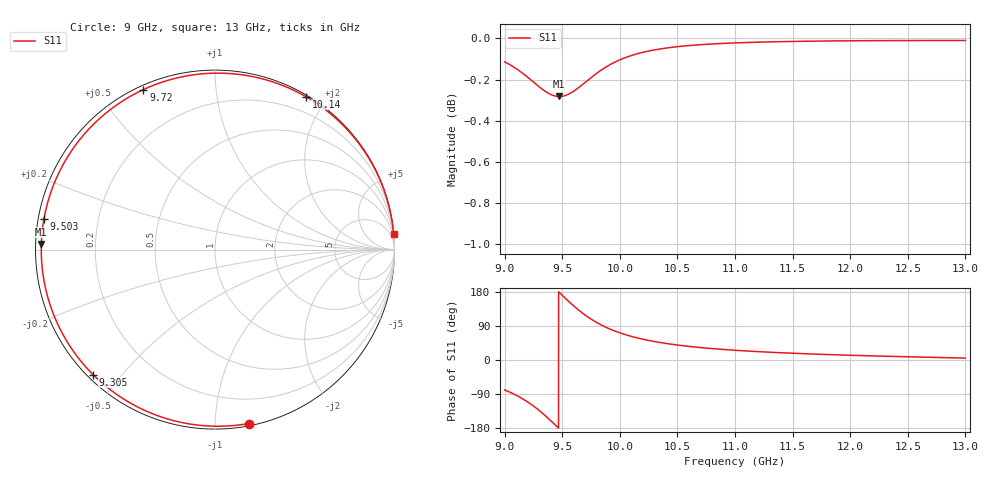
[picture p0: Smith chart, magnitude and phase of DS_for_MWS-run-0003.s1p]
! TOUCHSTONE file generated by CST DESIGN STUDIO
! Date and time: Tue Feb  4 12:28:36 2025
! Project name: C:\Work\MatlabApps\UnitCellOptimizationMatlab\CST\unitcell.cst
! Tree item: Tasks\Sweep1\SPara1\S-Parameters
! Header version: 2024
! Port assignment regex: !\s*Touchstone port\s*([0-9]+)\s*=\s*(CST MWS port|CST DES external port|CST DES block port)\s*(.+)\s* \(\"(.*)\"\)(\s*mode\s*([0-9]+))?.*
! Touchstone port assignment:
! Touchstone port 1 = CST DES external port 1 ("")
# GHz S MA R 50
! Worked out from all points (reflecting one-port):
!   4001 points, 9 GHz to 13 GHz, reference 50 ohm
!   lowest |S11| = -0.3 dB at 9.475 GHz (marker M1), VSWR 61.53, Z = 0.813 + j0.792 ohm
!   phase of S11 starts at -79 deg and turns -276 deg over the sweep
!   S11 on the Smith chart (normalised r, x): 9 GHz: 0.02, -1.21; 9.305 GHz: 0.02, -0.42; 9.503 GHz: 0.02, +0.09; 9.72 GHz: 0.02, +0.65; 10.14 GHz: 0.02, +1.76; 13 GHz: 0, +23
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9  0.987 -79.0
9.076  0.9843 -89.2
9.173  0.9799 -105.4
9.241  0.9764 -119.3
9.305  0.973 -134.3
9.35  0.9709 -146.0
9.397  0.9692 -159.1
9.437  0.9683 -170.6
9.475  0.968 178.2
9.5  0.9681 170.8
9.503  0.9682 170.0
9.555  0.9693 155.0
9.615  0.9716 138.8
9.667  0.9741 125.9
9.72  0.9768 114.1
9.776  0.9796 103.1
9.838  0.9824 92.6
9.918  0.9855 81.2
10  0.9881 71.7
10.138  0.9912 59.3
10.301  0.9936 48.7
10.5  0.9954 39.5
10.722  0.9966 32.2
11  0.9975 25.7
11.5  0.9983 17.8
12  0.9987 12.5
12.5  0.9988 8.5
13  0.9988 5.1
